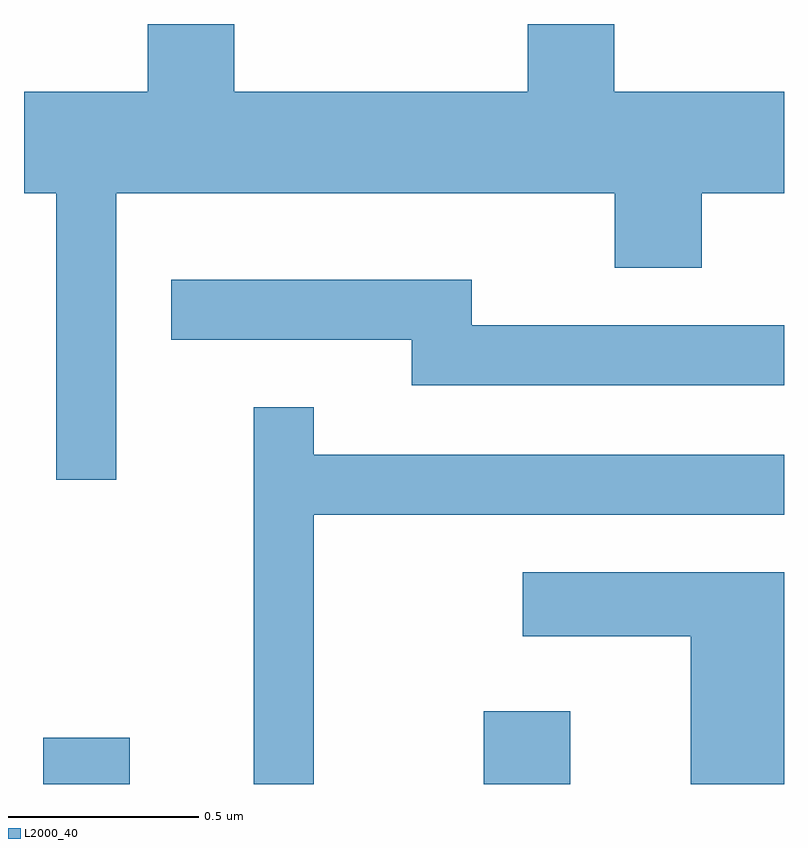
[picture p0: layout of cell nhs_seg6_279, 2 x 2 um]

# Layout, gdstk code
import gdstk
lib = gdstk.Library(unit=1e-6, precision=1e-09)
def R(c, l, rs):  # rectangles x0, y0, x1, y1
    for r in rs: c.add(gdstk.rectangle(r[:2], r[2:], *l))
def P(c, l, *ps):  # polygons
    for p in ps: c.add(gdstk.Polygon(p, *l))
L2000_40 = (2000, 40)

nhs_seg6_279 = lib.new_cell('nhs_seg6_279')
R(nhs_seg6_279, L2000_40, [(187.661,1535.162,187.889,1535.284), (188.821,1535.162,189.049,1535.354)])
P(nhs_seg6_279, L2000_40, [(187.854,1536.716),(189.166,1536.716),(189.166,1536.521),(189.394,1536.521),(189.394,1536.716),(189.611,1536.716),(189.611,1536.984),(189.164,1536.984),(189.164,1537.162),(188.936,1537.162),(188.936,1536.984),(188.164,1536.984),(188.164,1537.162),(187.936,1537.162),(187.936,1536.984),(187.611,1536.984),(187.611,1536.716),(187.696,1536.716),(187.696,1535.963),(187.854,1535.963)],
  [(189.611,1536.369),(188.789,1536.369),(188.789,1536.489),(187.998,1536.489),(187.998,1536.331),(188.631,1536.331),(188.631,1536.211),(189.611,1536.211)],
  [(188.374,1535.871),(189.611,1535.871),(189.611,1536.029),(188.374,1536.029),(188.374,1536.153),(188.216,1536.153),(188.216,1535.162),(188.374,1535.162)],
  [(189.611,1535.719),(188.923,1535.719),(188.923,1535.551),(189.366,1535.551),(189.366,1535.162),(189.611,1535.162)])

lib.write_gds('nhs_seg6_279.gds')
